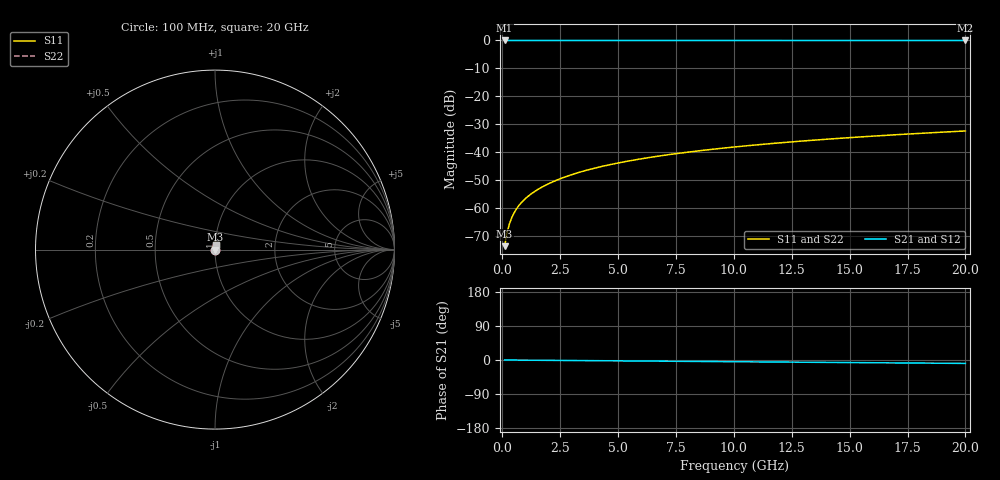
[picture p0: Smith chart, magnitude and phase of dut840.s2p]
! Touchstone file exported from HFSS 2026.1.0
!  File:  C:/ffzhzh/LocalFiles/Ansys_Project_Files/temp_train_TSV_840_1783184912_43440.aedt
!  Generated:  01:10:17 AM Jul  5, 2026
!  Design:  TSV
!  Project:  temp_train_TSV_840_1783184912_43440
! Variables:
!  h_bsmrdl = 2um
!  h_ox = 20um
!  h_rdl = 5um
!  h_sub = 88.08um
!  h_tmrdl = 5um
!  h_tsv = 88.08um
!  h_via = 3um
!  l_bsmrdl = 300um
!  l_sub = 420.88um
!  l_tmrdl = 200um
!  m_sub = 200um
!  pitch = 50.31um
!  r_tsv = 10.44um
!  s_tmrdl = 10um
!  w_bsmrdl = 18um
!  w_sub = 500um
!  w_tmrdl = 12um
!  x_tsv_center1 = 206um
!  x_tsv_center2 = 524um
!  x_tsv_center3 = 736um
!  x_tsv_center4 = 1054um
!  x_tsv_center5 = 1266um
!  x_tsv_center6 = 1584um
# GHz S MA R 50.000000
! Terminal data exported
! Port[1] = TSV1_1_T1
! Port[2] = TSV1_1_T2
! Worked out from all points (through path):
!   200 points, 100 MHz to 20 GHz, reference 50 ohm
!   highest |S21| = 0.00 dB at 100 MHz (marker M1); lowest = 0.0 dB at 20 GHz (marker M2)
!   group delay of S21, straight-line fit = 1.25 ps
!   lowest |S11| = -73.6 dB at 100 MHz (marker M3), VSWR 1.00, Z = 50 + j0.0165 ohm
!   |S11| at or under -10 dB: start of sweep to end of sweep
!   |S22| runs from -73.6 to -32.4 dB; largest |S21 - S12| = 2.3e-15
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0.1  0.0002078 52.4  0.9999 -0.0  0.9999 -0.0  0.0002078 52.4
! Gamma 0 0 0 0
! Port Impedance 50 0 50 0
0.2  0.0003551 66.9  0.9999 -0.1  0.9999 -0.1  0.0003551 66.9
0.3  0.0005089 71.9  0.9998 -0.1  0.9998 -0.1  0.0005089 71.9
0.4  0.0006603 74.1  0.9998 -0.2  0.9998 -0.2  0.0006603 74.1
0.5  0.000807 75.2  0.9998 -0.2  0.9998 -0.2  0.000807 75.2
0.6  0.0009488 75.9  0.9998 -0.3  0.9998 -0.3  0.0009488 75.9
0.7  0.001086 76.3  0.9997 -0.3  0.9997 -0.3  0.001086 76.3
0.8  0.00122 76.7  0.9997 -0.4  0.9997 -0.4  0.00122 76.7
1  0.001479 77.4  0.9997 -0.5  0.9997 -0.5  0.001479 77.4
1.4  0.001983 78.6  0.9996 -0.6  0.9996 -0.6  0.001983 78.6
1.7  0.002355 79.4  0.9996 -0.8  0.9996 -0.8  0.002355 79.4
2  0.002727 80.0  0.9996 -0.9  0.9996 -0.9  0.002727 80.0
2.7  0.003592 80.9  0.9995 -1.2  0.9995 -1.2  0.003592 80.9
3.5  0.004578 81.5  0.9994 -1.6  0.9994 -1.6  0.004578 81.5
4.2  0.005436 81.7  0.9994 -1.9  0.9994 -1.9  0.005436 81.7
5  0.006408 81.8  0.9993 -2.3  0.9993 -2.3  0.006408 81.8
6.8  0.008572 81.7  0.9992 -3.1  0.9992 -3.1  0.008572 81.7
8.3  0.01036 81.5  0.9991 -3.7  0.9991 -3.7  0.01036 81.5
10.1  0.01249 81.1  0.999 -4.6  0.999 -4.6  0.01249 81.1
13.4  0.01636 80.2  0.9988 -6.0  0.9988 -6.0  0.01636 80.2
16.7  0.02019 79.1  0.9986 -7.5  0.9986 -7.5  0.02019 79.1
20  0.02398 77.8  0.9984 -9.0  0.9984 -9.0  0.02398 77.8
